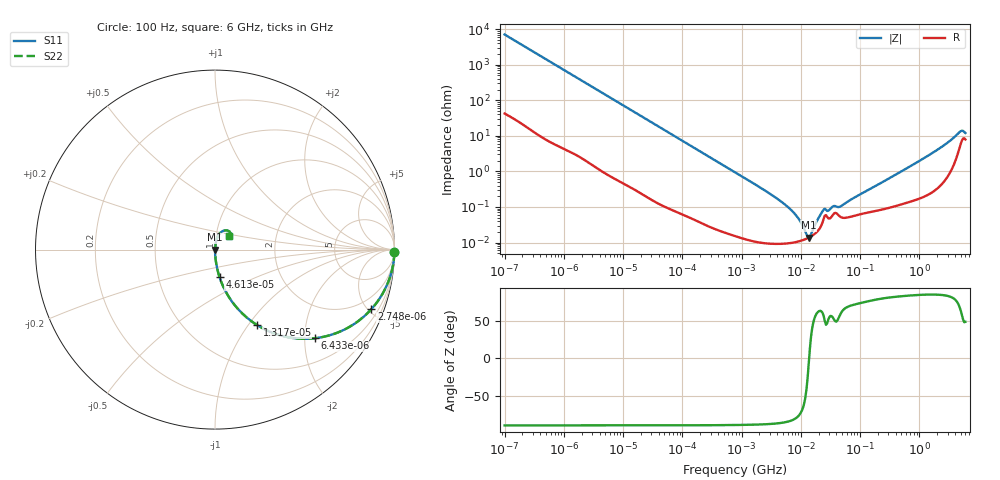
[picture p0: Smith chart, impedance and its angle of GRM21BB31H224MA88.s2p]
!Murata Part Number: GRM21BB31H224MA88
!These Parameters are Measured in Series Mode Connection
!Data Generated on Mar 30, 2021
!  o--ll--o
!Port1  Port2
!  o------o
!Operation Temp=25[degC], DC Bias Voltage=0[V]
!Freq. Start=100[Hz] Stop=6[GHz] 401[Steps]
# Hz S RI R 50
!Freq.(Hz) S11(Real) S11(Imag) S21(Real) S21(Imag) S12(Real) S12(Imag) S22(Real) S22(Imag)
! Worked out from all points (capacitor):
!   401 points, 100 Hz to 6 GHz, reference 50 ohm
!   read as one part in series: C = 223 nF near 109 Hz
!   lowest |Z| = 13.8 mohm at 13.6 MHz (marker M1)
!   series resonance near 13.81 MHz, so ESL is about 590 pH
!   S11 on the Smith chart (normalised r, x): 100 Hz: open; 2.748 kHz: 1.03, -5.24; 6.433 kHz: 1.01, -2.25; 13.17 kHz: 1.01, -1.10; 46.13 kHz: 1.00, -0.32; 6 GHz: 1.16, +0.18
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100  0.9997 -0.0141  0.000282 0.0141  0.000282 0.0141  0.9997 -0.0141
600  0.9926 -0.0831  0.00742 0.0831  0.00742 0.0831  0.9926 -0.0831
2008  0.9262 -0.2582  0.0738 0.2582  0.0738 0.2582  0.9262 -0.2582
2748  0.8713 -0.3316  0.1287 0.3316  0.1287 0.3316  0.8713 -0.3316
6433  0.5573 -0.4937  0.4427 0.4937  0.4427 0.4937  0.5573 -0.4937
13169  0.2338 -0.42  0.7662 0.42  0.7662 0.42  0.2338 -0.42
40335  0.0326 -0.1743  0.9674 0.1743  0.9674 0.1743  0.0326 -0.1743
46134  0.0253 -0.1536  0.9747 0.1536  0.9747 0.1536  0.0253 -0.1536
141303  0.00315 -0.0516  0.9969 0.0516  0.9969 0.0516  0.00315 -0.0516
774597  0.000242 -0.0095  0.9998 0.0095  0.9998 0.0095  0.000242 -0.0095
5809218  9.5e-05 -0.00105  0.9999 0.00105  0.9999 0.00105  9.5e-05 -0.00105
8692127  0.000105 -0.000519  0.9999 0.000519  0.9999 0.000519  0.000105 -0.000519
1.243624e7  0.000128 -0.000115  0.9999 0.000115  0.9999 0.000115  0.000128 -0.000115
1.360128e7  0.000137 -1.68e-05  0.9999 1.68e-05  0.9999 1.68e-05  0.000137 -1.68e-05
1.555665e7  0.000156 0.000133  0.9998 -0.000133  0.9998 -0.000133  0.000156 0.000133
1.946e7  0.000213 0.000405  0.9998 -0.000405  0.9998 -0.000405  0.000213 0.000405
2.434276e7  0.000466 0.000706  0.9995 -0.000706  0.9995 -0.000706  0.000466 0.000706
4.764863e7  0.000516 0.000918  0.9995 -0.000918  0.9995 -0.000918  0.000516 0.000918
3.124326e8  0.000986 0.00635  0.999 -0.00635  0.999 -0.00635  0.000986 0.00635
1.873145e9  0.00436 0.037  0.9956 -0.037  0.9956 -0.037  0.00436 0.037
4.796499e9  0.0568 0.1075  0.9432 -0.1075  0.9432 -0.1075  0.0568 0.1075
6e9  0.0797 0.0772  0.9203 -0.0772  0.9203 -0.0772  0.0797 0.0772
